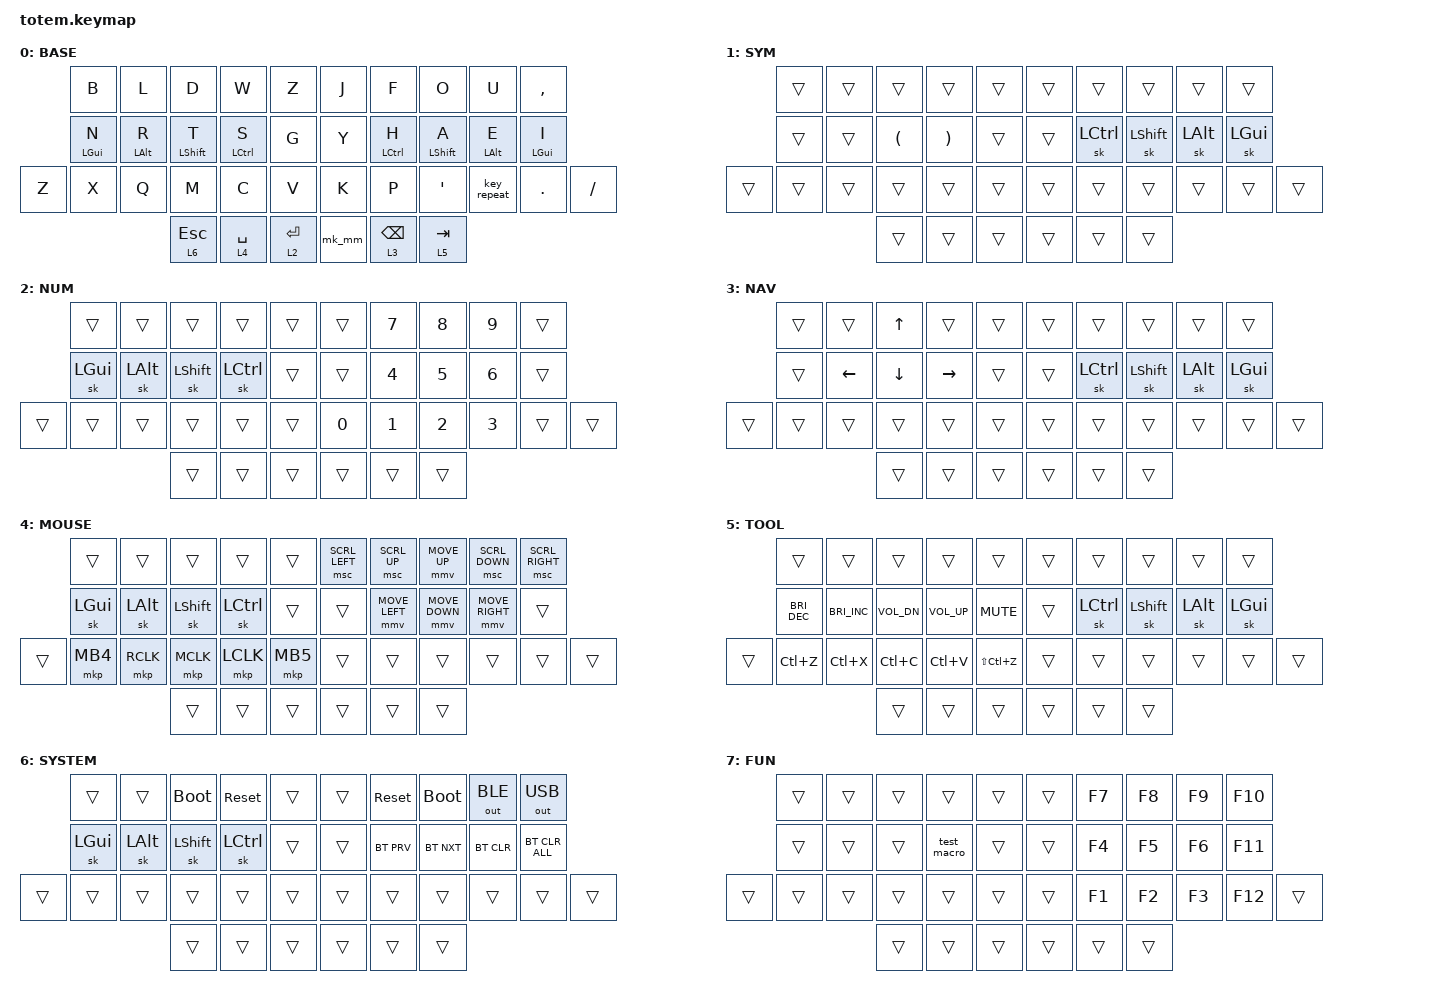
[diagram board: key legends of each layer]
//
//                                                        ▀▀▀▀▀     ▀▀▀▀▀          ▀▀█▀▀
//                                                        ▄▀▀▀▄  ▄  ▄▀▀▀▄  ▄  ▄▀▀▀▄  █  ▄▀▀▀▄
//                                                        █   █  █  █   █  █  █   █  █  █   █
//                                                         ▀▀▀   █   ▀▀▀   █   ▀▀▀   ▀   ▀▀▀
//                                                               █      ▄▄▄█▄▄▄    █   █  
//                                                               ▀      █  █  █     █▄█
//                                                             ▀▀▀▀▀    █  █  █      ▀
//                                                                      ▀  ▀  ▀
//
// ▄▄▄▄▄▄▄▄▄▄▄▄▄▄▄▄▄▄▄▄▄▄▄▄▄▄▄▄▄▄▄▄▄▄▄▄▄▄▄▄▄▄▄▄▄▄▄▄▄▄▄▄▄▄▄▄▄▄▄▄▄▄▄▄▄▄▄▄▄▄▄▄▄▄▄▄▄▄▄▄▄▄▄▄▄▄▄▄▄▄▄▄▄▄▄▄▄▄▄▄▄▄▄▄▄▄▄▄▄▄▄▄▄▄▄▄▄▄▄▄▄▄▄▄▄▄▄▄▄▄▄▄▄▄▄▄▄▄▄▄▄▄▄▄▄▄▄▄▄

#define ZMK_POINTING_DEFAULT_MOVE_VAL 1800  // default: 600

#include <behaviors.dtsi>
#include <dt-bindings/zmk/bt.h>
#include <dt-bindings/zmk/keys.h>
#include <dt-bindings/zmk/outputs.h>
#include <dt-bindings/zmk/pointing.h>

&sk { quick-release; };

&lt {
    tapping-term-ms = <280>;
    quick-tap-ms = <175>;
    require-prior-idle-ms = <150>;
    flavor = "balanced";
};

&mmv { time-to-max-speed-ms = <600>; };

/ {
    combos { compatible = "zmk,combos"; };

    behaviors {
        hml: home_row_mods_left {
            compatible = "zmk,behavior-hold-tap";
            label = "HRMs for left hand";
            bindings = <&kp>, <&kp>;

            #binding-cells = <2>;
            tapping-term-ms = <280>;
            quick-tap-ms = <175>;
            require-prior-idle-ms = <150>;
            flavor = "balanced";
            hold-trigger-key-positions = <32 33 34 5 6 7 8 9 15 16 17 18 19 26 27 28 29 30 31 35 36 37>;
            hold-trigger-on-release;
        };

        hmr: home_row_mods_right {
            compatible = "zmk,behavior-hold-tap";
            label = "HRMs for right hand";
            bindings = <&kp>, <&kp>;

            #binding-cells = <2>;
            tapping-term-ms = <280>;
            quick-tap-ms = <175>;
            require-prior-idle-ms = <150>;
            flavor = "balanced";
            hold-trigger-on-release;
            hold-trigger-key-positions = <35 36 37 0 1 2 3 4 10 11 12 13 14 20 21 22 23 24 25 32 33 34>;
        };

        mk_lt: magic_key_layer_tap {
            compatible = "zmk,behavior-hold-tap";
            label = "Layer tap behavior for magic key";
            bindings = <&mo>, <&sk>;

            #binding-cells = <2>;
            tapping-term-ms = <280>;
            quick-tap-ms = <175>;
            require-prior-idle-ms = <150>;
            flavor = "balanced";
        };

        mk_mm: magic_key_mod_morph {
            compatible = "zmk,behavior-mod-morph";
            label = "Mod morph behavior for magic key";
            bindings = <&mk_lt 1 LSHFT>, <&mk_cw_mt LSHFT 0>;

            #binding-cells = <0>;
            mods = <(MOD_LSFT|MOD_RSFT)>;
            keep-mods = <(MOD_LSFT|MOD_RSFT)>;
        };

        mk_cw_mt: magic_key_caps_word_mod_tap {
            compatible = "zmk,behavior-hold-tap";
            label = "Allows tap and holding magic key for shift";
            bindings = <&kp>, <&caps_word>;

            #binding-cells = <2>;
            tapping-term-ms = <280>;
            flavor = "balanced";
        };
    };

    macros {
        test_macro: test_macro {
            compatible = "zmk,behavior-macro";
            #binding-cells = <0>;
            bindings = <&kp T &kp E &kp S &kp T &kp SPACE &kp M &kp A &kp C &kp R &kp O>;
            label = "TEST_MACRO";
        };
    };

    keymap {
        compatible = "zmk,keymap";

        base_layer {
            bindings = <
       &kp B        &kp L        &kp D          &kp W         &kp Z        &kp J   &kp F         &kp O         &kp U        &kp COMMA
       &hml LGUI N  &hml LALT R  &hml LSHIFT T  &hml LCTRL S  &kp G        &kp Y   &hmr LCTRL H  &hmr LSHFT A  &hmr LALT E  &hmr LEFT_GUI I
&kp Z  &kp X        &kp Q        &kp M          &kp C         &kp V        &kp K   &kp P         &kp SQT       &key_repeat  &kp PERIOD       &kp FSLH
                                 &lt 6 ESC      &lt 4 SPACE   &lt 2 RET    &mk_mm  &lt 3 BSPC    &lt 5 TAB
            >;

            label = "BASE";
        };

        sym_layer {
            bindings = <
        &trans  &trans  &trans    &trans    &trans    &trans  &trans     &trans     &trans    &trans
        &trans  &trans  &kp LPAR  &kp RPAR  &trans    &trans  &sk LCTRL  &sk LSHFT  &sk LALT  &sk LGUI
&trans  &trans  &trans  &trans    &trans    &trans    &trans  &trans     &trans     &trans    &trans    &trans
                        &trans    &trans    &trans    &trans  &trans     &trans
            >;

            label = "SYM";
        };

        num_layer {
            bindings = <
        &trans    &trans    &trans     &trans     &trans    &trans  &kp N7  &kp N8  &kp N9  &trans
        &sk LGUI  &sk LALT  &sk LSHFT  &sk LCTRL  &trans    &trans  &kp N4  &kp N5  &kp N6  &trans
&trans  &trans    &trans    &trans     &trans     &trans    &kp N0  &kp N1  &kp N2  &kp N3  &trans  &trans
                            &trans     &trans     &trans    &trans  &trans  &trans
            >;

            label = "NUM";
        };

        nav_layer {
            bindings = <
        &trans  &trans    &kp UP    &trans     &trans    &trans  &trans     &trans     &trans    &trans
        &trans  &kp LEFT  &kp DOWN  &kp RIGHT  &trans    &trans  &sk LCTRL  &sk LSHFT  &sk LALT  &sk LGUI
&trans  &trans  &trans    &trans    &trans     &trans    &trans  &trans     &trans     &trans    &trans    &trans
                          &trans    &trans     &trans    &trans  &trans     &trans
            >;

            label = "NAV";
        };

        mouse_layer {
            bindings = <
        &trans    &trans     &trans     &trans     &trans      &msc SCRL_LEFT  &msc SCRL_UP    &mmv MOVE_UP    &msc SCRL_DOWN   &msc SCRL_RIGHT
        &sk LGUI  &sk LALT   &sk LSHFT  &sk LCTRL  &trans      &trans          &mmv MOVE_LEFT  &mmv MOVE_DOWN  &mmv MOVE_RIGHT  &trans
&trans  &mkp MB4  &mkp RCLK  &mkp MCLK  &mkp LCLK  &mkp MB5    &trans          &trans          &trans          &trans           &trans           &trans
                             &trans     &trans     &trans      &trans          &trans          &trans
            >;

            label = "MOUSE";
        };

        tool_layer {
            bindings = <
        &trans                &trans                &trans        &trans        &trans           &trans  &trans     &trans     &trans    &trans
        &kp C_BRIGHTNESS_DEC  &kp C_BRIGHTNESS_INC  &kp C_VOL_DN  &kp C_VOL_UP  &kp C_MUTE       &trans  &sk LCTRL  &sk LSHFT  &sk LALT  &sk LGUI
&trans  &kp LC(Z)             &kp LC(X)             &kp LC(C)     &kp LC(V)     &kp LS(LC(Z))    &trans  &trans     &trans     &trans    &trans    &trans
                                                    &trans        &trans        &trans           &trans  &trans     &trans
            >;

            label = "TOOL";
        };

        system_layer {
            bindings = <
        &trans    &trans    &bootloader  &sys_reset  &trans    &trans  &sys_reset  &bootloader  &out OUT_BLE  &out OUT_USB
        &sk LGUI  &sk LALT  &sk LSHFT    &sk LCTRL   &trans    &trans  &bt BT_PRV  &bt BT_NXT   &bt BT_CLR    &bt BT_CLR_ALL
&trans  &trans    &trans    &trans       &trans      &trans    &trans  &trans      &trans       &trans        &trans          &trans
                            &trans       &trans      &trans    &trans  &trans      &trans
            >;

            label = "SYSTEM";
        };

        function_layer {
            bindings = <
        &trans  &trans  &trans  &trans       &trans    &trans  &kp F7  &kp F8  &kp F9  &kp F10
        &trans  &trans  &trans  &test_macro  &trans    &trans  &kp F4  &kp F5  &kp F6  &kp F11
&trans  &trans  &trans  &trans  &trans       &trans    &trans  &kp F1  &kp F2  &kp F3  &kp F12  &trans
                        &trans  &trans       &trans    &trans  &trans  &trans
            >;

            label = "FUN";
        };
    };

    conditional_layers {
        compatible = "zmk,conditional-layers";

        tri_layer {
            if-layers = <3 4>;
            then-layer = <7>;
        };
    };
};
